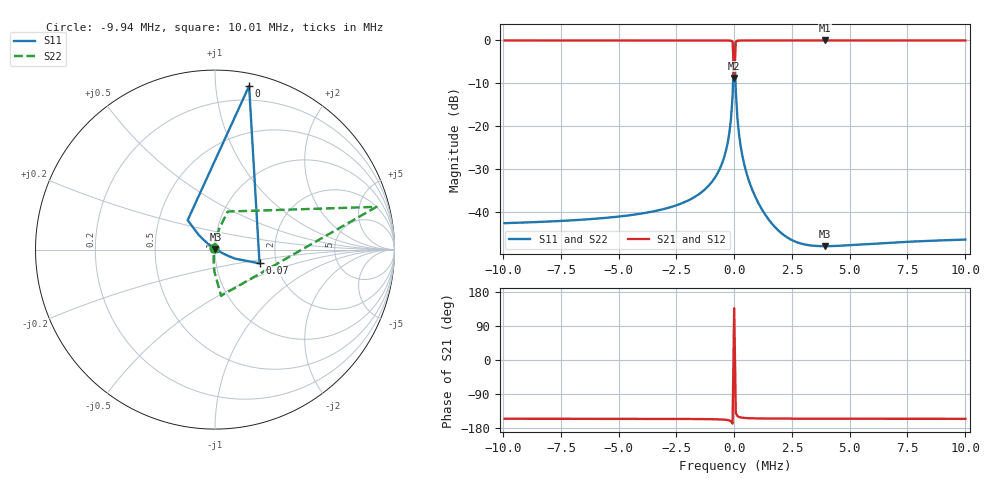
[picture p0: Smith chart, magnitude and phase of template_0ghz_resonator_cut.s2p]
! Touchstone file exported from HFSS 2024.1.0
!  File:  C:/Users/alex_0000/Desktop/hfss_resonance_simulator (1).aedt
!  Generated:  06:27:55 PM Jun  4, 2025
!  Design:  hfssO1XZ3E2
!  Project:  hfss_resonance_simulator (1)
!  Setup:  Setup1
!  Solution:  Sweep
! Created with skrf (http://scikit-rf.org).
# GHz S RI R 50.0
! Port[1] = 1
! Port[2] = 2
!freq ReS11 ImS11 ReS21 ImS21 ReS12 ImS12 ReS22 ImS22
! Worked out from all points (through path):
!   286 points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, -9.94 MHz to 10.01 MHz, reference 50 ohm
!   highest |S21| = 0.00 dB at 3.92 MHz (marker M1); lowest = -8.7 dB at 0 Hz (marker M2)
!   lowest |S11| = -47.9 dB at 3.92 MHz (marker M3), VSWR 1.01, Z = 50.2 + j0.34 ohm
!   |S11| at or under -10 dB: start of sweep to -53.01 kHz; 59.21 kHz to end of sweep
!   |S22| runs from -47.9 to -0.6 dB; largest |S21 - S12| = 2.3e-13
!   S11 on the Smith chart (normalised r, x): -9.94 MHz: 0.99, +0.01; 0 Hz: 0.09, +1.23; 70 kHz: 1.63, -0.27; 10.01 MHz: 1.00, +0.01
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-0.00994  -0.00299 0.00685  -0.9066 -0.422  -0.9066 -0.422  -0.00331 0.0067
-0.00658  -0.00371 0.00732  -0.9075 -0.4201  -0.9075 -0.4201  -0.00318 0.00756
-0.00322  -0.00594 0.00882  -0.9091 -0.4164  -0.9091 -0.4164  -0.0028 0.0103
-0.00154  -0.0107 0.0121  -0.9117 -0.4105  -0.9117 -0.4105  -0.00197 0.016
-0.00105  -0.0149 0.0151  -0.9138 -0.4056  -0.9138 -0.4056  -0.00117 0.0212
-0.00063  -0.0236 0.0214  -0.9179 -0.3955  -0.9179 -0.3955  0.000654 0.0318
-0.00028  -0.0493 0.0419  -0.9291 -0.3642  -0.9291 -0.3642  0.00766 0.0642
-0.00014  -0.0902 0.0811  -0.9433 -0.3091  -0.9433 -0.3091  0.0247 0.1188
-7e-05  -0.1524 0.1637  -0.9527 -0.2057  -0.9527 -0.2057  0.0713 0.212
0  0.19 0.9113  -0.265 0.2513  -0.265 0.2513  0.8999 0.2382
7e-05  0.2481 -0.0768  -0.7381 -0.6227  -0.7381 -0.6227  0.0339 -0.2575
0.00014  0.1135 -0.0508  -0.8392 -0.5293  -0.8392 -0.5293  -0.00304 -0.1243
0.00021  0.0725 -0.0348  -0.8658 -0.4939  -0.8658 -0.4939  -0.00696 -0.0801
0.00035  0.0416 -0.0198  -0.8843 -0.4647  -0.8843 -0.4647  -0.00729 -0.0454
0.00063  0.0219 -0.00882  -0.8953 -0.4449  -0.8953 -0.4449  -0.0062 -0.0228
0.00098  0.0134 -0.00371  -0.8999 -0.4359  -0.8999 -0.4359  -0.0054 -0.0128
0.00147  0.00838 -0.000579  -0.9026 -0.4304  -0.9026 -0.4304  -0.00483 -0.00688
0.00203  0.00564 0.00116  -0.9041 -0.4273  -0.9041 -0.4273  -0.00448 -0.00362
0.00336  0.00281 0.00299  -0.9058 -0.4238  -0.9058 -0.4238  -0.00409 -0.000245
0.00392  0.0022 0.00338  -0.9062 -0.4229  -0.9062 -0.4229  -0.004 0.000488
0.00672  0.00068 0.00437  -0.9074 -0.4203  -0.9074 -0.4203  -0.00377 0.00231
0.01001  -5.84e-06 0.00481  -0.9083 -0.4184  -0.9083 -0.4184  -0.00365 0.00313
